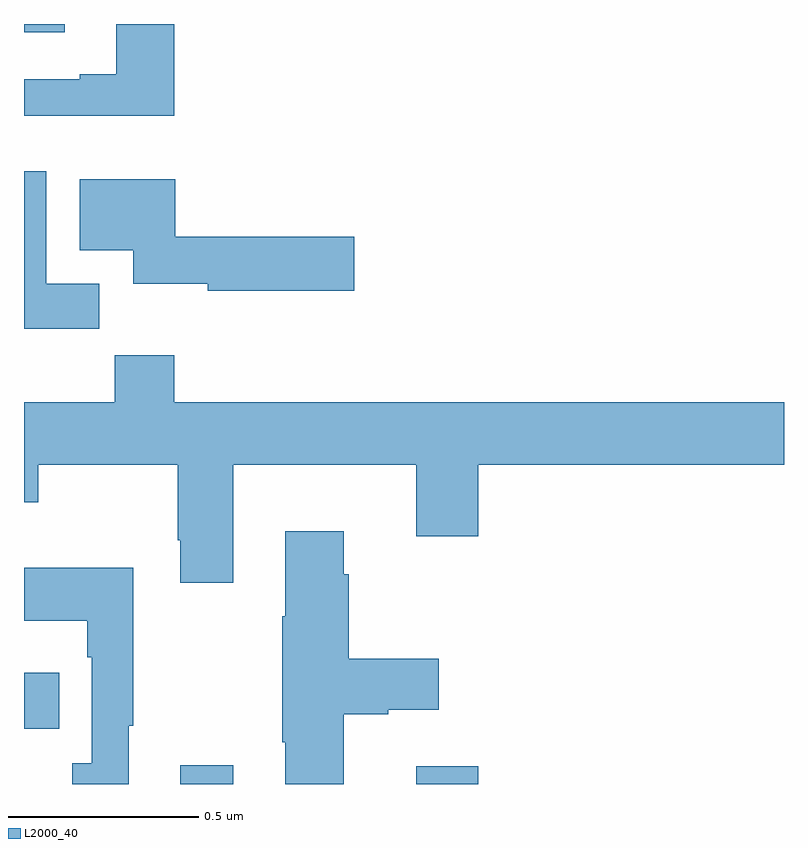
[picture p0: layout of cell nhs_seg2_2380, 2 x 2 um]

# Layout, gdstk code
import gdstk
lib = gdstk.Library(unit=1e-6, precision=1e-09)
def R(c, l, rs):  # rectangles x0, y0, x1, y1
    for r in rs: c.add(gdstk.rectangle(r[:2], r[2:], *l))
def P(c, l, *ps):  # polygons
    for p in ps: c.add(gdstk.Polygon(p, *l))
L2000_40 = (2000, 40)

nhs_seg2_2380 = lib.new_cell('nhs_seg2_2380')
R(nhs_seg2_2380, L2000_40, [(140.411,642.8,140.551,642.85), (141.032,642.8,141.196,642.847), (140,642.946,140.093,643.093), (140,644.778,140.107,644.8)])
P(nhs_seg2_2380, L2000_40, [(140.396,644.8),(140.243,644.8),(140.243,644.668),(140.147,644.668),(140.147,644.655),(140,644.655),(140,644.558),(140.396,644.558)],
  [(140.198,644.116),(140.059,644.116),(140.059,644.413),(140,644.413),(140,643.998),(140.198,643.998)],
  [(140.869,644.24),(140.398,644.24),(140.398,644.392),(140.147,644.392),(140.147,644.204),(140.288,644.204),(140.288,644.117),(140.484,644.117),(140.484,644.098),(140.869,644.098)],
  [(140.551,643.64),(141.032,643.64),(141.032,643.452),(141.196,643.452),(141.196,643.64),(142,643.64),(142,643.804),(140.396,643.804),(140.396,643.928),(140.239,643.928),(140.239,643.804),(140,643.804),(140,643.541),(140.037,643.541),(140.037,643.64),(140.404,643.64),(140.404,643.441),(140.411,643.441),(140.411,643.329),(140.551,643.329)],
  [(140.842,642.983),(140.958,642.983),(140.958,642.995),(141.091,642.995),(141.091,643.13),(140.855,643.13),(140.855,643.352),(140.842,643.352),(140.842,643.465),(140.687,643.465),(140.687,643.241),(140.68,643.241),(140.68,642.91),(140.687,642.91),(140.687,642.8),(140.842,642.8)],
  [(140.275,642.953),(140.287,642.953),(140.287,643.369),(140,643.369),(140,643.229),(140.166,643.229),(140.166,643.133),(140.178,643.133),(140.178,642.854),(140.127,642.854),(140.127,642.8),(140.275,642.8)])

lib.write_gds('nhs_seg2_2380.gds')
